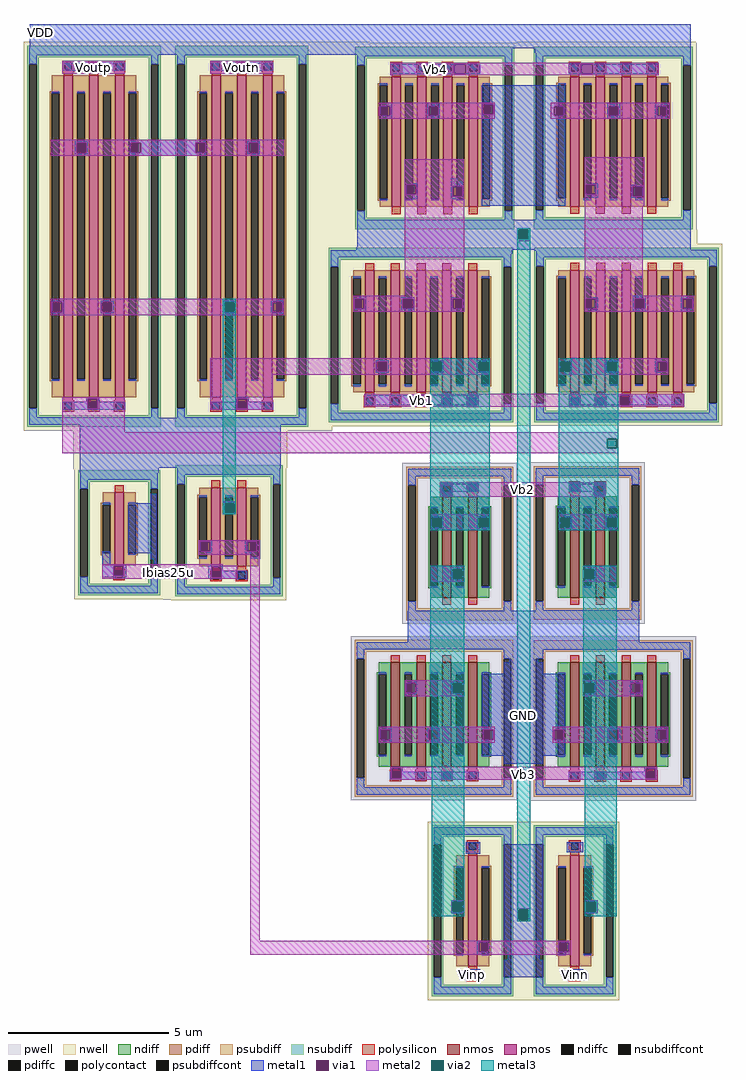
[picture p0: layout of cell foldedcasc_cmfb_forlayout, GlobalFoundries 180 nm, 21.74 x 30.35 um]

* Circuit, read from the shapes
.subckt foldedcasc_cmfb_forlayout VDD Vb4 Vb1 Vinp Vinn Vb3 Voutp Voutn GND Ibias25u Vb2
XM1 n1 Vb3 GND GND nfet_03v3 w=3.25u l=0.28u m=4
XM2 n1 Vb2 Voutn GND nfet_03v3 w=3.15u l=0.28u m=2
XM3 n2 Vb3 GND GND nfet_03v3 w=3.25u l=0.28u m=4
XM4 n2 Vb2 Voutp GND nfet_03v3 w=3.15u l=0.28u m=2
XM5 VDD Voutp n3 VDD pfet_03v3 w=10u l=0.28u m=3
XM6 VDD Ibias25u Ibias25u VDD pfet_03v3 w=2.27u l=0.28u
XM7 n3 Ibias25u n4 VDD pfet_03v3 w=2.45u l=0.28u m=2
XM8 n3 Voutn VDD VDD pfet_03v3 w=10u l=0.28u m=3
XM9 Voutn Vb1 n5 VDD pfet_03v3 w=3.8u l=0.28u m=5
XM10 n5 Vb4 VDD VDD pfet_03v3 w=4.05u l=0.28u m=4
XM11 n4 Vinp n1 VDD pfet_03v3 w=3.45u l=0.28u
XM12 n2 Vinn n4 VDD pfet_03v3 w=3.45u l=0.28u
XM13 n6 Vb4 VDD VDD pfet_03v3 w=4.05u l=0.28u m=4
XM14 n6 Vb1 Voutp VDD pfet_03v3 w=3.8u l=0.28u m=5
.ends

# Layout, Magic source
magic
tech gf180mcuD
magscale 1 10
<< nwell >>
rect -1360 1200 -1310 3590
rect -440 3570 -80 3590
rect -440 2400 -190 3570
rect 840 3560 1950 3590
rect 840 2420 920 3560
rect 840 2400 1960 2420
rect -440 2330 1960 2400
rect -440 1200 -350 2330
rect 840 1200 930 2330
rect -1920 940 -590 1200
rect -440 1170 -310 1200
rect -1920 930 -1300 940
rect -1360 120 -1300 930
rect 840 -2370 920 -1260
<< metal1 >>
rect -2190 3548 1920 3700
rect -2190 3530 810 3548
rect -2190 3510 -150 3530
rect 950 3520 1920 3548
rect -1990 3410 -1820 3460
rect -1830 3400 -1820 3410
rect -1760 3410 -1610 3460
rect -1060 3410 -900 3460
rect -1760 3400 -1750 3410
rect -1830 3390 -1750 3400
rect -910 3400 -900 3410
rect -840 3410 -680 3460
rect -840 3400 -830 3410
rect -910 3390 -830 3400
rect 50 3390 450 3450
rect 520 3390 610 3450
rect 1160 3390 1240 3450
rect 1310 3390 1720 3450
rect 620 3210 1140 3320
rect 30 3190 60 3210
rect 50 3130 60 3190
rect 30 3110 60 3130
rect 280 3190 360 3210
rect 280 3130 290 3190
rect 350 3130 360 3190
rect 280 3110 360 3130
rect 620 3110 630 3210
rect 670 3200 1100 3210
rect 690 3190 1100 3200
rect 1400 3190 1480 3210
rect 690 3140 1070 3190
rect 670 3130 1070 3140
rect 1400 3130 1410 3190
rect 1470 3130 1480 3190
rect 670 3110 1100 3130
rect 1400 3110 1480 3130
rect 1700 3200 1780 3210
rect 1700 3190 1740 3200
rect 1700 3130 1710 3190
rect 1700 3120 1770 3130
rect 1700 3110 1740 3120
rect -1910 2960 -1830 2970
rect -1910 2900 -1900 2960
rect -1840 2900 -1830 2960
rect -1910 2890 -1830 2900
rect -1570 2960 -1100 2980
rect -1570 2900 -1560 2960
rect -1500 2900 -1160 2960
rect -1570 2880 -1100 2900
rect -840 2960 -760 2970
rect -840 2900 -830 2960
rect -770 2900 -760 2960
rect -840 2890 -760 2900
rect 430 2720 470 2740
rect 190 2700 220 2710
rect 210 2640 220 2700
rect 190 2610 220 2640
rect 430 2690 500 2720
rect 430 2630 440 2690
rect 430 2610 470 2630
rect 620 2570 1140 3110
rect 1300 2700 1340 2710
rect 1330 2640 1340 2700
rect 1300 2620 1340 2640
rect 1550 2690 1580 2700
rect 1550 2630 1560 2690
rect 1550 2620 1580 2630
rect -156 2420 1920 2482
rect -156 2360 850 2420
rect 910 2360 1920 2420
rect -156 2310 1920 2360
rect -160 2296 1920 2310
rect -160 2270 810 2296
rect 950 2290 1920 2296
rect -140 1990 -100 2010
rect -2060 1970 -1980 1980
rect -2060 1910 -2050 1970
rect -1990 1910 -1980 1970
rect -2060 1900 -1980 1910
rect -1750 1970 -1670 1980
rect -1750 1910 -1740 1970
rect -1680 1910 -1670 1970
rect -1750 1900 -1670 1910
rect -990 1970 -910 1980
rect -990 1910 -980 1970
rect -920 1910 -910 1970
rect -990 1900 -910 1910
rect -690 1970 -610 1980
rect -690 1910 -680 1970
rect -620 1910 -610 1970
rect -110 1930 -100 1990
rect -140 1910 -100 1930
rect 120 1990 200 2000
rect 120 1930 130 1990
rect 190 1930 200 1990
rect 120 1910 200 1930
rect 430 1990 460 2000
rect 1300 1990 1340 2000
rect 430 1930 440 1990
rect 1330 1930 1340 1990
rect 430 1910 460 1930
rect 1300 1920 1340 1930
rect 1560 1990 1640 2010
rect 1560 1930 1570 1990
rect 1630 1930 1640 1990
rect 1560 1910 1640 1930
rect 1860 1990 1900 2010
rect 1860 1930 1870 1990
rect 1860 1910 1900 1930
rect -690 1900 -610 1910
rect -40 1600 40 1610
rect -40 1540 -30 1600
rect 30 1540 40 1600
rect -40 1530 40 1540
rect 300 1600 380 1610
rect 300 1540 310 1600
rect 370 1540 380 1600
rect 300 1530 380 1540
rect 590 1600 670 1610
rect 1140 1600 1180 1620
rect 590 1540 600 1600
rect 660 1540 670 1600
rect 1170 1540 1180 1600
rect 590 1530 670 1540
rect 1140 1520 1180 1540
rect 1390 1600 1470 1610
rect 1390 1540 1400 1600
rect 1460 1540 1470 1600
rect 1390 1530 1470 1540
rect 1700 1600 1740 1620
rect 1700 1540 1710 1600
rect 1700 1530 1740 1540
rect 1160 1390 1880 1400
rect -1840 1370 -1760 1380
rect -1840 1350 -1830 1370
rect -1980 1310 -1830 1350
rect -1770 1350 -1760 1370
rect -910 1370 -830 1380
rect -910 1350 -900 1370
rect -1770 1310 -1600 1350
rect -1980 1300 -1600 1310
rect -1060 1310 -900 1350
rect -840 1350 -830 1370
rect -840 1310 -680 1350
rect -110 1330 210 1390
rect 270 1330 600 1390
rect 1160 1330 1480 1390
rect 1540 1330 1880 1390
rect -1060 1300 -680 1310
rect -1880 940 -630 1250
rect -1880 910 -1390 940
rect -1240 930 -680 940
rect 360 830 600 840
rect -1440 720 -1400 780
rect 360 770 370 830
rect 430 790 600 830
rect 1160 830 1390 840
rect 1160 790 1320 830
rect 430 770 440 790
rect 360 760 440 770
rect 1310 770 1320 790
rect 1380 770 1390 830
rect 1310 760 1390 770
rect -1740 340 -1690 420
rect -1580 410 -1400 720
rect -990 720 -910 730
rect -990 660 -980 720
rect -920 660 -910 720
rect -990 650 -910 660
rect 300 630 380 640
rect 300 570 310 630
rect 370 570 380 630
rect 300 560 380 570
rect 590 630 670 640
rect 1140 630 1180 640
rect 590 570 600 630
rect 660 570 670 630
rect 1170 570 1180 630
rect 590 560 670 570
rect 1140 560 1180 570
rect 1390 630 1460 640
rect 1390 570 1400 630
rect 1390 560 1460 570
rect -1090 480 -1060 490
rect -1070 420 -1060 480
rect -1090 410 -1060 420
rect -850 480 -810 490
rect -850 420 -840 480
rect -850 410 -810 420
rect -1440 370 -1400 410
rect -1420 340 -1400 370
rect -1740 330 -1590 340
rect -1740 270 -1670 330
rect -1740 260 -1660 270
rect -1610 260 -1590 330
rect -1080 320 -990 330
rect -1080 260 -1060 320
rect -1000 300 -990 320
rect 430 310 460 320
rect 1300 310 1330 320
rect -1000 260 -840 300
rect -1080 250 -840 260
rect 430 250 440 310
rect 1320 250 1330 310
rect 430 240 460 250
rect 1300 240 1330 250
rect 161 -110 1598 52
rect 160 -120 1598 -110
rect 160 -160 1600 -120
rect 790 -170 1600 -160
rect 790 -270 970 -170
rect 760 -340 1000 -270
rect 180 -400 220 -390
rect 210 -460 220 -400
rect 180 -470 220 -460
rect 430 -400 460 -390
rect 430 -460 440 -400
rect 430 -470 460 -460
rect 20 -690 60 -680
rect 50 -750 60 -690
rect 20 -760 60 -750
rect 280 -690 320 -680
rect 330 -690 360 -680
rect 620 -690 1140 -340
rect 1300 -400 1330 -390
rect 1320 -460 1330 -400
rect 1300 -470 1330 -460
rect 1540 -400 1580 -390
rect 1540 -460 1550 -400
rect 1540 -470 1580 -460
rect 1400 -690 1480 -680
rect 280 -750 290 -690
rect 350 -750 360 -690
rect 690 -750 1070 -690
rect 1400 -750 1410 -690
rect 1470 -750 1480 -690
rect 280 -760 320 -750
rect 330 -760 360 -750
rect 620 -850 1140 -750
rect 1400 -760 1480 -750
rect 1700 -690 1740 -680
rect 1700 -750 1710 -690
rect 1700 -760 1740 -750
rect 760 -900 1000 -850
rect 50 -930 130 -920
rect 50 -990 60 -930
rect 120 -950 130 -930
rect 1630 -930 1710 -920
rect 1630 -950 1640 -930
rect 120 -990 600 -950
rect 100 -1000 600 -990
rect 1160 -990 1640 -950
rect 1700 -990 1710 -930
rect 1160 -1000 1710 -990
rect 520 -1460 610 -1390
rect 430 -1760 460 -1750
rect 430 -1820 440 -1760
rect 760 -1810 1000 -1400
rect 1150 -1450 1250 -1390
rect 1300 -1760 1340 -1750
rect 430 -1830 460 -1820
rect 760 -1870 850 -1810
rect 910 -1870 1000 -1810
rect 1330 -1820 1340 -1760
rect 1300 -1830 1340 -1820
rect 590 -2010 660 -2000
rect 590 -2070 600 -2010
rect 760 -2040 1000 -1870
rect 1100 -2010 1170 -2000
rect 590 -2090 660 -2070
rect 780 -2120 980 -2040
rect 1160 -2070 1170 -2010
rect 1100 -2090 1170 -2070
rect 510 -2240 610 -2180
rect 760 -2230 1000 -2120
rect 1150 -2240 1250 -2180
<< via1 >>
rect -1820 3400 -1760 3460
rect -900 3400 -840 3460
rect 450 3390 520 3450
rect 1240 3390 1310 3450
rect -10 3130 50 3190
rect 290 3130 350 3190
rect 630 3140 690 3200
rect 1070 3130 1130 3190
rect 1410 3130 1470 3190
rect 1710 3130 1770 3190
rect -1900 2900 -1840 2960
rect -1560 2900 -1500 2960
rect -1160 2900 -1100 2960
rect -830 2900 -770 2960
rect 150 2640 210 2700
rect 440 2630 500 2690
rect 1270 2640 1330 2700
rect 1560 2630 1620 2690
rect 850 2360 910 2420
rect -2050 1910 -1990 1970
rect -1740 1910 -1680 1970
rect -980 1910 -920 1970
rect -680 1910 -620 1970
rect -170 1930 -110 1990
rect 130 1930 190 1990
rect 440 1930 500 1990
rect 1270 1930 1330 1990
rect 1570 1930 1630 1990
rect 1870 1930 1930 1990
rect -30 1540 30 1600
rect 310 1540 370 1600
rect 600 1540 660 1600
rect 1110 1540 1170 1600
rect 1400 1540 1460 1600
rect 1710 1540 1770 1600
rect -1830 1310 -1770 1370
rect -900 1310 -840 1370
rect 210 1330 270 1390
rect 1480 1330 1540 1390
rect 370 770 430 830
rect 1320 770 1380 830
rect -980 660 -920 720
rect 310 570 370 630
rect 600 570 660 630
rect 1110 570 1170 630
rect 1400 570 1460 630
rect -1130 420 -1070 480
rect -840 420 -780 480
rect -1670 270 -1610 330
rect -1060 260 -1000 320
rect 440 250 500 310
rect 1260 250 1320 310
rect 150 -460 210 -400
rect 440 -460 500 -400
rect -10 -750 50 -690
rect 1260 -460 1320 -400
rect 1550 -460 1610 -400
rect 290 -750 350 -690
rect 630 -750 690 -690
rect 1070 -750 1130 -690
rect 1410 -750 1470 -690
rect 1710 -750 1770 -690
rect 60 -990 120 -930
rect 1640 -990 1700 -930
rect 440 -1820 500 -1760
rect 850 -1870 910 -1810
rect 1270 -1820 1330 -1760
rect 600 -2070 660 -2010
rect 1100 -2070 1160 -2010
<< metal2 >>
rect -1990 3460 -1600 3470
rect -1990 3400 -1820 3460
rect -1760 3400 -1600 3460
rect -1990 3390 -1600 3400
rect -1070 3460 -680 3470
rect -1070 3400 -900 3460
rect -840 3400 -680 3460
rect -1070 3390 -680 3400
rect 50 3450 1720 3460
rect 50 3390 450 3450
rect 520 3390 1240 3450
rect 1310 3390 1720 3450
rect 50 3380 1720 3390
rect -20 3200 700 3210
rect -20 3190 630 3200
rect -20 3130 -10 3190
rect 50 3130 290 3190
rect 350 3140 630 3190
rect 690 3140 700 3200
rect 350 3130 700 3140
rect -20 3110 700 3130
rect 1050 3190 1790 3210
rect 1050 3130 1070 3190
rect 1130 3130 1410 3190
rect 1470 3130 1710 3190
rect 1770 3130 1790 3190
rect 1050 3110 1790 3130
rect -2060 2960 -610 2980
rect -2060 2900 -1900 2960
rect -1840 2900 -1560 2960
rect -1500 2900 -1160 2960
rect -1100 2900 -830 2960
rect -770 2900 -610 2960
rect -2060 2880 -610 2900
rect 140 2700 510 2860
rect 140 2640 150 2700
rect 210 2690 510 2700
rect 210 2640 440 2690
rect 140 2630 440 2640
rect 500 2630 510 2690
rect 140 2010 510 2630
rect 1260 2700 1630 2870
rect 1260 2640 1270 2700
rect 1330 2690 1630 2700
rect 1330 2640 1560 2690
rect 1260 2630 1560 2640
rect 1620 2630 1630 2690
rect 1260 2570 1630 2630
rect 840 2420 920 2430
rect 840 2360 850 2420
rect 910 2360 920 2420
rect 840 2350 920 2360
rect -180 1990 510 2010
rect -2060 1970 -610 1990
rect -2060 1910 -2050 1970
rect -1990 1910 -1740 1970
rect -1680 1910 -980 1970
rect -920 1910 -680 1970
rect -620 1910 -610 1970
rect -180 1930 -170 1990
rect -110 1930 130 1990
rect 190 1930 440 1990
rect 500 1930 510 1990
rect -180 1910 510 1930
rect 1260 2010 1620 2570
rect 1260 1990 1940 2010
rect 1260 1930 1270 1990
rect 1330 1930 1570 1990
rect 1630 1930 1870 1990
rect 1930 1930 1940 1990
rect 1260 1910 1940 1930
rect -2060 1890 -610 1910
rect -1070 1600 670 1620
rect -1070 1540 -30 1600
rect 30 1540 310 1600
rect 370 1540 600 1600
rect 660 1540 670 1600
rect -1070 1520 670 1540
rect 1100 1600 1780 1620
rect 1100 1540 1110 1600
rect 1170 1540 1400 1600
rect 1460 1540 1710 1600
rect 1770 1540 1780 1600
rect 1100 1520 1780 1540
rect -1990 1370 -1600 1380
rect -1990 1310 -1830 1370
rect -1770 1310 -1600 1370
rect -1990 1160 -1600 1310
rect -1070 1370 -680 1520
rect -1070 1310 -900 1370
rect -840 1310 -680 1370
rect -110 1390 1880 1400
rect -110 1330 210 1390
rect 270 1330 1480 1390
rect 1540 1330 1880 1390
rect -110 1320 1880 1330
rect -1070 1300 -680 1310
rect -1990 1120 1470 1160
rect -1990 1060 1400 1120
rect 1460 1060 1470 1120
rect -1990 1030 1470 1060
rect 360 830 1390 850
rect 360 770 370 830
rect 430 770 1320 830
rect 1380 770 1390 830
rect 360 760 1390 770
rect -990 720 -910 730
rect -990 660 -980 720
rect -920 660 -910 720
rect -990 650 -910 660
rect 300 630 670 650
rect 300 570 310 630
rect 370 570 600 630
rect 660 570 670 630
rect 300 550 670 570
rect 1100 630 1470 650
rect 1100 570 1110 630
rect 1170 570 1400 630
rect 1460 570 1470 630
rect 1100 550 1470 570
rect -1140 480 -760 490
rect -1140 420 -1130 480
rect -1070 420 -840 480
rect -780 420 -760 480
rect -1140 400 -760 420
rect -1740 330 -990 340
rect -1740 270 -1670 330
rect -1610 320 -900 330
rect -1610 270 -1060 320
rect -1740 260 -1060 270
rect -1000 260 -900 320
rect -1740 250 -900 260
rect -820 -2000 -760 400
rect 300 310 510 330
rect 300 250 440 310
rect 500 250 510 310
rect 300 230 510 250
rect 1250 310 1460 330
rect 1250 250 1260 310
rect 1320 250 1460 310
rect 1250 230 1460 250
rect 140 -400 510 -380
rect 140 -460 150 -400
rect 210 -460 440 -400
rect 500 -460 510 -400
rect 140 -480 510 -460
rect 1250 -400 1620 -380
rect 1250 -460 1260 -400
rect 1320 -460 1550 -400
rect 1610 -460 1620 -400
rect 1250 -480 1620 -460
rect -20 -690 700 -670
rect -20 -750 -10 -690
rect 50 -750 290 -690
rect 350 -750 630 -690
rect 690 -750 700 -690
rect -20 -770 700 -750
rect 1060 -690 1780 -670
rect 1060 -750 1070 -690
rect 1130 -750 1410 -690
rect 1470 -750 1710 -690
rect 1770 -750 1780 -690
rect 1060 -770 1780 -750
rect 50 -930 1710 -920
rect 50 -990 60 -930
rect 120 -990 1640 -930
rect 1700 -990 1710 -930
rect 50 -1000 1710 -990
rect 430 -1760 510 -1750
rect 430 -1820 440 -1760
rect 500 -1820 510 -1760
rect 1260 -1760 1340 -1750
rect 430 -1830 510 -1820
rect 840 -1810 920 -1800
rect 840 -1870 850 -1810
rect 910 -1870 920 -1810
rect 1260 -1820 1270 -1760
rect 1330 -1820 1340 -1760
rect 1260 -1830 1340 -1820
rect 840 -1880 920 -1870
rect -820 -2010 1170 -2000
rect -820 -2070 600 -2010
rect 660 -2070 1100 -2010
rect 1160 -2070 1170 -2010
rect -820 -2090 1170 -2070
<< via2 >>
rect 850 2360 910 2420
rect -980 1910 -920 1970
rect 310 1540 370 1600
rect 600 1540 660 1600
rect 1110 1540 1170 1600
rect 1400 1540 1460 1600
rect 1400 1060 1460 1120
rect -980 660 -920 720
rect 310 570 370 630
rect 600 570 660 630
rect 1110 570 1170 630
rect 1400 570 1460 630
rect 440 250 500 310
rect 1260 250 1320 310
rect 440 -460 500 -400
rect 1260 -460 1320 -400
rect 440 -1820 500 -1760
rect 850 -1870 910 -1810
rect 1270 -1820 1330 -1760
<< metal3 >>
rect 840 2420 920 2430
rect 840 2360 850 2420
rect 910 2360 920 2420
rect -990 1970 -910 1990
rect -990 1910 -980 1970
rect -920 1910 -910 1970
rect -990 720 -910 1910
rect -990 660 -980 720
rect -920 660 -910 720
rect -990 650 -910 660
rect 300 1600 670 1620
rect 300 1540 310 1600
rect 370 1540 600 1600
rect 660 1540 670 1600
rect 300 630 670 1540
rect 300 570 310 630
rect 370 570 600 630
rect 660 570 670 630
rect 300 550 670 570
rect 300 310 510 330
rect 300 250 440 310
rect 500 250 510 310
rect 300 -400 510 250
rect 300 -460 440 -400
rect 500 -460 510 -400
rect 300 -480 510 -460
rect 310 -1760 510 -480
rect 310 -1820 440 -1760
rect 500 -1820 510 -1760
rect 310 -1850 510 -1820
rect 840 -1810 920 2360
rect 1100 1600 1470 1620
rect 1100 1540 1110 1600
rect 1170 1540 1400 1600
rect 1460 1540 1470 1600
rect 1100 1120 1470 1540
rect 1100 1060 1400 1120
rect 1460 1060 1470 1120
rect 1100 630 1470 1060
rect 1100 570 1110 630
rect 1170 570 1400 630
rect 1460 570 1470 630
rect 1100 550 1470 570
rect 1250 310 1460 330
rect 1250 250 1260 310
rect 1320 250 1460 310
rect 1250 -400 1460 250
rect 1250 -460 1260 -400
rect 1320 -460 1460 -400
rect 1250 -480 1460 -460
rect 840 -1870 850 -1810
rect 910 -1870 920 -1810
rect 1260 -1760 1460 -480
rect 1260 -1820 1270 -1760
rect 1330 -1820 1460 -1760
rect 1260 -1850 1460 -1820
rect 840 -1880 920 -1870
use nfet_03v3_H55Z6X  nfet_03v3_H55Z6X_0
transform 1 0 323 0 1 -618
box -518 -511 518 511
use nfet_03v3_H55Z6X  nfet_03v3_H55Z6X_1
transform 1 0 1437 0 1 -619
box -518 -511 518 511
use nfet_03v3_Q9T6P6  nfet_03v3_Q9T6P6_0
transform 1 0 483 0 1 470
box -358 -501 358 501
use nfet_03v3_Q9T6P6  nfet_03v3_Q9T6P6_1
transform 1 0 1277 0 1 472
box -358 -501 358 501
use pfet_03v3_2JHB2G  pfet_03v3_2JHB2G_0
transform 1 0 563 0 1 -1815
box -278 -555 278 555
use pfet_03v3_2JHB2G  pfet_03v3_2JHB2G_1
transform 1 0 1198 0 1 -1815
box -278 -555 278 555
use pfet_03v3_9X9WZQ  pfet_03v3_9X9WZQ_0
transform 1 0 -1792 0 1 2380
box -438 -1210 438 1210
use pfet_03v3_9X9WZQ  pfet_03v3_9X9WZQ_1
transform 1 0 -872 0 1 2380
box -438 -1210 438 1210
use pfet_03v3_BGXDRV  pfet_03v3_BGXDRV_0
transform 1 0 328 0 1 2991
box -518 -591 518 591
use pfet_03v3_BGXDRV  pfet_03v3_BGXDRV_1
transform 1 0 1438 0 1 2992
box -518 -591 518 591
use pfet_03v3_K6VR6N  pfet_03v3_K6VR6N_0
transform 1 0 1519 0 1 1766
box -598 -566 598 566
use pfet_03v3_NPQ64B  pfet_03v3_NPQ64B_0
transform 1 0 -1635 0 1 536
box -278 -413 278 413
use pfet_03v3_PH8H39  pfet_03v3_PH8H39_0
transform 1 0 -953 0 1 548
box -358 -431 358 431
use pfet_03v3_K6VR6N  pfet_03v3_SM7875
transform 1 0 243 0 1 1765
box -598 -566 598 566
<< labels >>
rlabel metal1 -2170 3610 -2080 3690 1 VDD
port 1 n
rlabel metal2 50 3390 610 3450 1 Vb4
port 2 n
rlabel metal2 -110 1330 600 1390 1 Vb1
port 3 n
rlabel metal1 510 -2240 610 -2180 1 Vinp
port 5 n
rlabel metal1 1150 -2240 1250 -2180 1 Vinn
port 6 n
rlabel metal2 820 -1000 940 -940 1 Vb3
port 7 n
rlabel metal2 -1990 3390 -1600 3470 1 Voutp
port 8 n
rlabel metal2 -1070 3390 -680 3470 1 Voutn
port 9 n
rlabel metal1 690 -790 1070 -410 1 GND
port 10 n
rlabel metal2 -1500 260 -1160 320 1 Ibias25u
port 11 n
rlabel metal2 830 760 920 850 1 Vb2
port 12 n
<< end >>

# cell nfet_03v3_H55Z6X: kit device nfet_03v3, w 3.25 l 0.280 m 1 nf 4 diffcov 80 polycov 100 guard 1 glc 1 grc 1 gtc 0 gbc 0 tbcov 100 rlcov 100 topc 0 botc 1 poverlap 0 doverlap 1 lmin 0.28 wmin 0.22 class mosfet full_metal 1 compatible {nfet_03v3 nfet_05v0 nfet_06v0 nfet_06v0_nvt}

# cell nfet_03v3_Q9T6P6: kit device nfet_03v3, w 3.15 l 0.280 m 1 nf 2 diffcov 80 polycov 100 guard 1 glc 1 grc 1 gtc 0 gbc 0 tbcov 100 rlcov 100 topc 1 botc 0 poverlap 0 doverlap 1 lmin 0.28 wmin 0.22 class mosfet full_metal 1 compatible {nfet_03v3 nfet_05v0 nfet_06v0 nfet_06v0_nvt}

# cell pfet_03v3_2JHB2G: kit device pfet_03v3, w 3.45 l 0.28 m 1 nf 1 diffcov 80 polycov 100 guard 1 glc 1 grc 1 gtc 0 gbc 0 tbcov 100 rlcov 100 topc 1 botc 1 poverlap 0 doverlap 1 lmin 0.28 wmin 0.22 class mosfet full_metal 1 compatible {pfet_03v3 pfet_05v0 pfet_06v0}

# cell pfet_03v3_9X9WZQ: kit device pfet_03v3, w 10 l 0.280 m 1 nf 3 diffcov 90 polycov 100 guard 1 glc 1 grc 1 gtc 0 gbc 0 tbcov 100 rlcov 100 topc 1 botc 1 poverlap 0 doverlap 1 lmin 0.28 wmin 0.22 class mosfet full_metal 1 compatible {pfet_03v3 pfet_05v0 pfet_06v0}

# cell pfet_03v3_BGXDRV: kit device pfet_03v3, w 4.05 l 0.280 m 1 nf 4 diffcov 90 polycov 100 guard 1 glc 1 grc 1 gtc 0 gbc 0 tbcov 100 rlcov 100 topc 1 botc 0 poverlap 0 doverlap 1 lmin 0.28 wmin 0.22 class mosfet full_metal 1 compatible {pfet_03v3 pfet_05v0 pfet_06v0}

# cell pfet_03v3_K6VR6N: kit device pfet_03v3, w 3.8 l 0.280 m 1 nf 5 diffcov 90 polycov 100 guard 1 glc 1 grc 1 gtc 0 gbc 0 tbcov 100 rlcov 100 topc 0 botc 1 poverlap 0 doverlap 1 lmin 0.28 wmin 0.22 class mosfet full_metal 1 compatible {pfet_03v3 pfet_05v0 pfet_06v0}

# cell pfet_03v3_NPQ64B: kit device pfet_03v3, w 2.27 l 0.280 m 1 nf 1 diffcov 70 polycov 100 guard 1 glc 1 grc 1 gtc 0 gbc 0 tbcov 100 rlcov 100 topc 0 botc 1 poverlap 0 doverlap 1 lmin 0.28 wmin 0.22 class mosfet full_metal 1 compatible {pfet_03v3 pfet_05v0 pfet_06v0}

# cell pfet_03v3_PH8H39: kit device pfet_03v3, w 2.45 l 0.280 m 1 nf 2 diffcov 80 polycov 100 guard 1 glc 1 grc 1 gtc 0 gbc 0 tbcov 100 rlcov 100 topc 0 botc 1 poverlap 0 doverlap 1 lmin 0.28 wmin 0.22 class mosfet full_metal 1 compatible {pfet_03v3 pfet_05v0 pfet_06v0}
